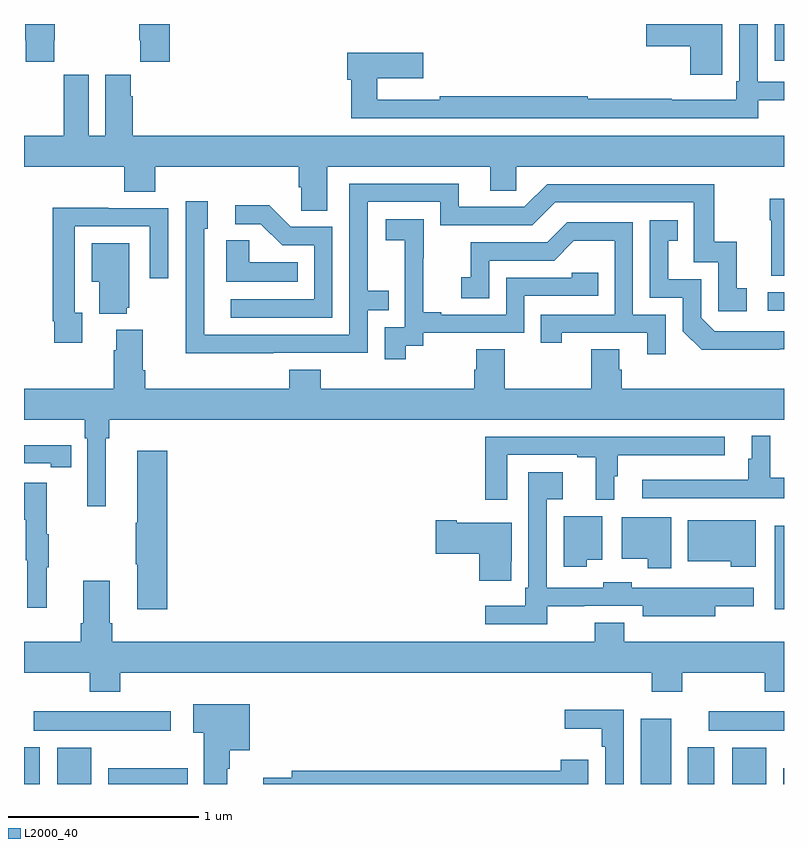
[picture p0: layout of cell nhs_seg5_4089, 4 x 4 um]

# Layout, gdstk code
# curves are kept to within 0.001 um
import gdstk
lib = gdstk.Library(unit=1e-6, precision=1e-09)
def R(c, l, rs):  # rectangles x0, y0, x1, y1
    for r in rs: c.add(gdstk.rectangle(r[:2], r[2:], *l))
def P(c, l, *ps):  # polygons
    for p in ps: c.add(gdstk.Polygon(p, *l))
L2000_40 = (2000, 40)

nhs_seg5_4089 = lib.new_cell('nhs_seg5_4089')
R(nhs_seg5_4089, L2000_40, [(351,898.799,351.082,898.993), (351.176,898.799,351.355,898.99), (351.443,898.799,351.862,898.883), (354.245,898.799,354.406,899.143), (354.494,898.799,354.634,898.993), (354.728,898.799,354.907,898.99), (354.995,898.799,355,898.883), (351.051,899.078,351.772,899.182), (354.603,899.078,355,899.182), (354.95,899.72,355,900.157), (354.915,901.29,355,901.386), (354.95,902.606,355,902.799)])
P(nhs_seg5_4089, L2000_40, [(351.767,902.799),(351.607,902.799),(351.607,902.713),(351.613,902.713),(351.613,902.601),(351.767,902.601)],
  [(351.159,902.713),(351.162,902.713),(351.162,902.799),(351.007,902.799),(351.007,902.713),(351.009,902.713),(351.009,902.601),(351.159,902.601)],
  [(354.864,902.399),(355,902.399),(355,902.496),(354.861,902.496),(354.861,902.799),(354.765,902.799),(354.765,902.497),(354.749,902.497),(354.749,902.401),(354.41,902.401),(354.41,902.405),(353.968,902.405),(353.968,902.42),(353.188,902.42),(353.188,902.4),(352.859,902.4),(352.859,902.513),(353.101,902.513),(353.101,902.648),(352.7,902.648),(352.7,902.506),(352.723,902.506),(352.723,902.304),(354.864,902.304)],
  [(354.675,902.635),(354.676,902.635),(354.676,902.799),(354.276,902.799),(354.276,902.681),(354.506,902.681),(354.506,902.532),(354.675,902.532)],
  [(352.597,902.048),(353.453,902.048),(353.453,901.921),(353.592,901.921),(353.592,902.048),(355,902.048),(355,902.212),(351.572,902.212),(351.572,902.42),(351.562,902.42),(351.562,902.533),(351.428,902.533),(351.428,902.212),(351.34,902.212),(351.34,902.533),(351.21,902.533),(351.21,902.42),(351.209,902.42),(351.209,902.212),(351,902.212),(351,902.048),(351.527,902.048),(351.527,901.915),(351.692,901.915),(351.692,902.048),(352.445,902.048),(352.445,901.939),(352.458,901.939),(352.458,901.816),(352.597,901.816)],
  [(352.313,901.068),(352.809,901.068),(352.809,901.293),(352.919,901.293),(352.919,901.394),(352.809,901.394),(352.809,901.863),(353.19,901.863),(353.19,901.74),(353.676,901.74),(353.796,901.86),(354.525,901.86),(354.525,901.545),(354.654,901.545),(354.654,901.287),(354.805,901.287),(354.805,901.407),(354.752,901.407),(354.752,901.654),(354.634,901.654),(354.634,901.956),(353.754,901.956),(353.634,901.836),(353.287,901.836),(353.287,901.959),(352.713,901.959),(352.713,901.164),(351.948,901.164),(351.948,901.722),(351.967,901.722),(351.967,901.867),(351.852,901.867),(351.852,901.373),(351.85,901.373),(351.85,901.067)],
  [(355,901.879),(354.925,901.879),(354.925,901.766),(354.932,901.766),(354.932,901.475),(355,901.475)],
  [(352.623,901.731),(352.404,901.731),(352.291,901.844),(352.113,901.844),(352.113,901.746),(352.247,901.746),(352.358,901.635),(352.527,901.635),(352.527,901.35),(352.089,901.35),(352.089,901.254),(352.623,901.254)],
  [(351.307,901.278),(351.267,901.278),(351.267,901.734),(351.663,901.734),(351.663,901.461),(351.759,901.461),(351.759,901.83),(351.443,901.83),(351.443,901.832),(351.151,901.832),(351.151,901.234),(351.159,901.234),(351.159,901.122),(351.307,901.122)],
  [(353.008,901.105),(353.1,901.105),(353.1,901.173),(353.634,901.173),(353.634,901.368),(354.023,901.368),(354.023,901.491),(353.883,901.491),(353.883,901.464),(353.538,901.464),(353.538,901.269),(353.197,901.269),(353.197,901.282),(353.102,901.282),(353.102,901.565),(353.103,901.565),(353.103,901.771),(352.905,901.771),(352.905,901.661),(353.003,901.661),(353.003,901.433),(353.004,901.433),(353.004,901.203),(352.899,901.203),(352.899,901.035),(353.008,901.035)],
  [(354.974,901.086),(355,901.086),(355,901.182),(354.636,901.182),(354.564,901.254),(354.564,901.455),(354.391,901.455),(354.391,901.659),(354.44,901.659),(354.44,901.765),(354.294,901.765),(354.294,901.359),(354.468,901.359),(354.468,901.182),(354.566,901.085)],
  [(354.378,901.269),(354.204,901.269),(354.204,901.755),(353.858,901.755),(353.753,901.65),(353.35,901.65),(353.35,901.465),(353.301,901.465),(353.301,901.356),(353.448,901.356),(353.448,901.554),(353.79,901.554),(353.894,901.658),(354.108,901.658),(354.108,901.269),(353.719,901.269),(353.719,901.122),(353.83,901.122),(353.83,901.173),(354.281,901.173),(354.281,901.062),(354.378,901.062)],
  [(352.442,901.546),(352.185,901.546),(352.185,901.661),(352.064,901.661),(352.064,901.442),(352.442,901.442)],
  [(351.542,901.305),(351.553,901.305),(351.553,901.645),(351.356,901.645),(351.356,901.442),(351.395,901.442),(351.395,901.274),(351.542,901.274)],
  [(351.43,900.62),(351.449,900.62),(351.449,900.716),(355,900.716),(355,900.88),(354.146,900.88),(354.146,900.978),(354.133,900.978),(354.133,901.088),(353.986,901.088),(353.986,900.88),(353.529,900.88),(353.529,901.088),(353.381,901.088),(353.381,900.978),(353.369,900.978),(353.369,900.88),(352.562,900.88),(352.562,900.979),(352.397,900.979),(352.397,900.88),(351.638,900.88),(351.638,900.976),(351.625,900.976),(351.625,901.189),(351.485,901.189),(351.485,901.082),(351.473,901.082),(351.473,900.88),(351,900.88),(351,900.716),(351.32,900.716),(351.32,900.62),(351.333,900.62),(351.333,900.261),(351.43,900.261)],
  [(355,900.412),(354.928,900.412),(354.928,900.631),(354.83,900.631),(354.83,900.51),(354.811,900.51),(354.811,900.4),(354.255,900.4),(354.255,900.303),(354.954,900.303),(354.954,900.302),(355,900.302)],
  [(353.544,900.531),(353.912,900.531),(353.912,900.519),(354.008,900.519),(354.008,900.294),(354.106,900.294),(354.106,900.42),(354.125,900.42),(354.125,900.53),(354.688,900.53),(354.688,900.627),(353.428,900.627),(353.428,900.294),(353.544,900.294)],
  [(351.248,900.582),(351.14,900.582),(351.14,900.583),(351,900.583),(351,900.486),(351.14,900.486),(351.14,900.466),(351.248,900.466)],
  [(351.755,900.553),(351.596,900.553),(351.596,900.173),(351.589,900.173),(351.589,899.956),(351.596,899.956),(351.596,899.718),(351.755,899.718)],
  [(353.754,899.735),(353.948,899.735),(353.948,899.736),(354.257,899.736),(354.257,899.681),(354.637,899.681),(354.637,899.735),(354.841,899.735),(354.841,899.832),(354.533,899.832),(354.533,899.833),(354.198,899.833),(354.198,899.86),(354.048,899.86),(354.048,899.832),(353.751,899.832),(353.751,900.299),(353.836,900.299),(353.836,900.439),(353.655,900.439),(353.655,899.833),(353.639,899.833),(353.639,899.737),(353.427,899.737),(353.427,899.64),(353.754,899.64)],
  [(351.119,899.939),(351.13,899.939),(351.13,900.113),(351.119,900.113),(351.119,900.385),(351.001,900.385),(351.001,900.306),(351,900.306),(351,900.19),(351.009,900.19),(351.009,899.976),(351.016,899.976),(351.016,899.727),(351.119,899.727)],
  [(353.962,899.978),(354.043,899.978),(354.043,900.208),(353.84,900.208),(353.84,899.942),(353.962,899.942)],
  [(354.406,900.202),(354.146,900.202),(354.146,899.984),(354.284,899.984),(354.284,899.934),(354.406,899.934)],
  [(353.565,899.971),(353.566,899.971),(353.566,900.175),(353.278,900.175),(353.278,900.188),(353.166,900.188),(353.166,900.01),(353.396,900.01),(353.396,899.868),(353.565,899.868)],
  [(354.85,900.187),(354.494,900.187),(354.494,899.972),(354.721,899.972),(354.721,899.942),(354.85,899.942)],
  [(351.506,899.384),(354.305,899.384),(354.305,899.285),(354.465,899.285),(354.465,899.384),(354.898,899.384),(354.898,899.285),(355,899.285),(355,899.548),(354.158,899.548),(354.158,899.647),(354.005,899.647),(354.005,899.548),(351.464,899.548),(351.464,899.644),(351.451,899.644),(351.451,899.869),(351.311,899.869),(351.311,899.644),(351.299,899.644),(351.299,899.548),(351,899.548),(351,899.384),(351.346,899.384),(351.346,899.285),(351.506,899.285)],
  [(352.069,898.88),(352.082,898.88),(352.082,898.976),(352.189,898.976),(352.189,899.218),(351.891,899.218),(351.891,899.069),(351.947,899.069),(351.947,898.799),(352.069,898.799)],
  [(354.156,899.189),(353.847,899.189),(353.847,899.09),(354.04,899.09),(354.04,898.994),(354.06,898.994),(354.06,898.799),(354.156,898.799)],
  [(353.971,898.927),(353.825,898.927),(353.825,898.868),(352.409,898.868),(352.409,898.832),(352.26,898.832),(352.26,898.799),(353.971,898.799)])

lib.write_gds('nhs_seg5_4089.gds')
